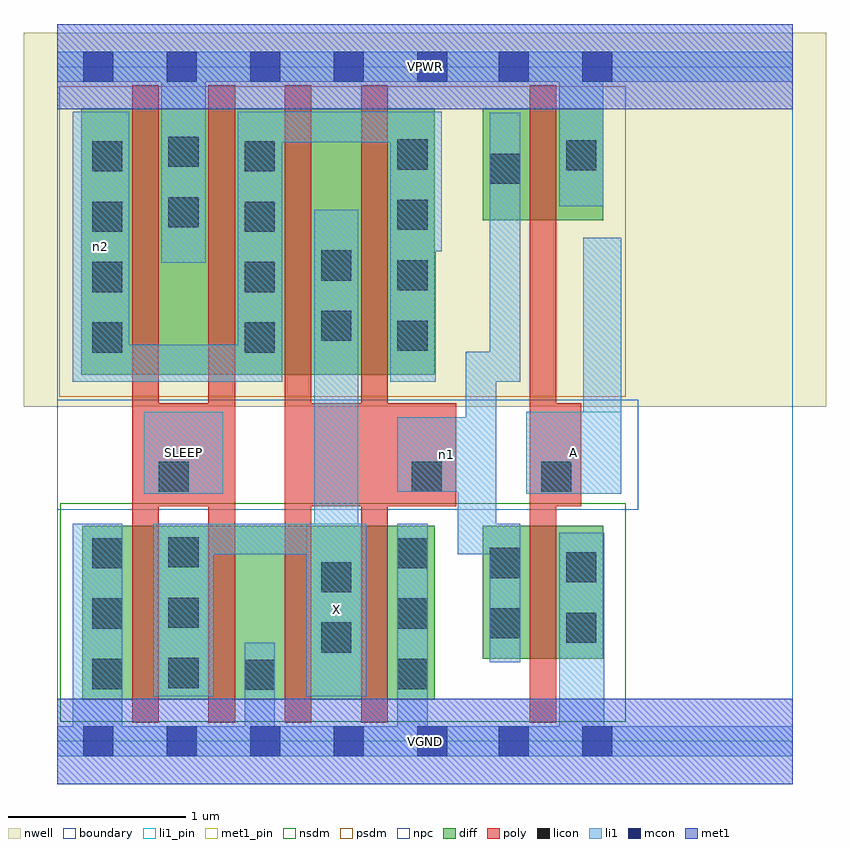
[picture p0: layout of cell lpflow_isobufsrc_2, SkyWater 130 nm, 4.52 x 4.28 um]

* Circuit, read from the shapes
.subckt lpflow_isobufsrc_2 A SLEEP VGND VPWR X n1 n2
XM1 X SLEEP VGND VSUBS sky130_fd_pr__nfet_01v8 w=0.98 l=0.15 m=2
XM2 X n1 VGND VSUBS sky130_fd_pr__nfet_01v8 w=0.98 l=0.15 m=2
XM3 VGND A n1 VSUBS sky130_fd_pr__nfet_01v8 w=0.75 l=0.15
XM4 VPWR SLEEP n2 n3 sky130_fd_pr__pfet_01v8 w=1.5 l=0.15 m=2
XM5 X n1 n2 n3 sky130_fd_pr__pfet_01v8 w=1.5 l=0.15 m=2
XM6 VPWR A n1 n3 sky130_fd_pr__pfet_01v8 w=0.63 l=0.15
.ends

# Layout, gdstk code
import gdstk
lib = gdstk.Library(unit=1e-6, precision=1e-09)
def R(c, l, rs):  # rectangles x0, y0, x1, y1
    for r in rs: c.add(gdstk.rectangle(r[:2], r[2:], *l))
def A(c, l, x, y, w, h, nx, ny, dx, dy):  # array of equal rectangles
    R(c, l, [(x+i*dx, y+j*dy, x+i*dx+w, y+j*dy+h) for i in range(nx) for j in range(ny)])
nwell = (64, 20)
diff = (65, 20)
poly = (66, 20)
licon = (66, 44)
li1_pin = (67, 16)
li1 = (67, 20)
mcon = (67, 44)
met1_pin = (68, 16)
met1 = (68, 20)
nsdm = (93, 44)
psdm = (94, 20)
npc = (95, 20)
boundary = (235, 4)

lpflow_isobufsrc_2 = lib.new_cell('lpflow_isobufsrc_2')
R(lpflow_isobufsrc_2, nwell, [(-0.19,1.885,4.33,3.99), (0,1.885,4.14,3.99)])
R(lpflow_isobufsrc_2, diff, [(0.14,0.235,2.125,1.215), (2.395,0.465,3.075,1.215), (0.135,2.065,2.125,3.565), (2.395,2.935,3.075,3.565)])
A(lpflow_isobufsrc_2, poly, 0.42, 0.105, 0.15, 3.59, 4, 1, 0.43, 0)
R(lpflow_isobufsrc_2, poly, [(2.66,0.105,2.81,3.695), (0.42,1.325,1,1.905), (1.28,1.325,2.245,1.905), (2.66,1.325,2.95,1.905)])
A(lpflow_isobufsrc_2, licon, 0.195, 0.295, 0.17, 0.17, 1, 3, 0, 0.34)
A(lpflow_isobufsrc_2, licon, 1.915, 0.295, 0.17, 0.17, 1, 3, 0, 0.34)
A(lpflow_isobufsrc_2, licon, 0.625, 0.3, 0.17, 0.17, 1, 3, 0, 0.34)
A(lpflow_isobufsrc_2, licon, 0.195, 2.19, 0.17, 0.17, 1, 4, 0, 0.34)
A(lpflow_isobufsrc_2, licon, 1.055, 2.19, 0.17, 0.17, 1, 4, 0, 0.34)
A(lpflow_isobufsrc_2, licon, 1.915, 2.2, 0.17, 0.17, 1, 4, 0, 0.34)
R(lpflow_isobufsrc_2, licon, [(1.055,0.29,1.225,0.46), (1.485,0.5,1.655,0.67), (2.865,0.555,3.035,0.725), (2.435,0.58,2.605,0.75), (1.485,0.84,1.655,1.01), (2.865,0.895,3.035,1.065), (2.435,0.92,2.605,1.09), (0.57,1.405,0.74,1.575), (1.995,1.405,2.165,1.575), (2.725,1.405,2.895,1.575), (1.485,2.255,1.655,2.425), (1.485,2.595,1.655,2.765), (0.625,2.895,0.795,3.065), (2.435,3.14,2.605,3.31), (2.865,3.215,3.035,3.385), (0.625,3.235,0.795,3.405)])
R(lpflow_isobufsrc_2, li1_pin, [(1.4,0.255,1.74,1.225), (0.485,1.395,0.935,1.855), (2.64,1.395,3.175,1.855)])
R(lpflow_isobufsrc_2, li1, [(0,-0.085,4.14,0.085), (0.085,-0.085,0.365,1.225), (1.055,-0.085,1.225,0.555), (1.915,-0.085,2.085,1.225), (2.825,-0.085,3.08,1.175), (0.54,0.255,0.88,1.225), (1.4,0.255,1.74,1.225), (1.445,0.255,1.695,2.995), (2.435,0.445,2.605,1.225), (0.54,1.055,1.74,1.225), (2.255,1.055,2.47,1.825), (2.3,1.055,2.47,2.195), (0.485,1.395,0.935,1.855), (2.64,1.395,3.175,1.855), (2.96,1.395,3.175,2.835), (1.915,1.405,2.47,1.825), (0.085,2.025,0.405,3.545), (0.085,2.025,1.265,2.235), (1.015,2.025,1.265,3.545), (1.875,2.025,2.13,3.545), (2.435,2.025,2.605,3.54), (0.585,2.695,0.835,3.885), (1.875,2.76,2.165,3.545), (2.825,3.015,3.075,3.885), (1.015,3.375,2.165,3.545), (0,3.715,4.14,3.885)])
A(lpflow_isobufsrc_2, mcon, 0.145, -0.085, 0.17, 0.17, 5, 2, 0.47, 3.8)
R(lpflow_isobufsrc_2, mcon, [(2.485,-0.085,2.655,0.085), (2.955,-0.085,3.125,0.085), (2.485,3.715,2.655,3.885), (2.955,3.715,3.125,3.885)])
R(lpflow_isobufsrc_2, met1_pin, [(0,-0.24,4.14,0.24), (0,3.56,4.14,4.04)])
R(lpflow_isobufsrc_2, met1, [(0,-0.24,4.14,0.24), (0,3.56,4.14,4.04)])
R(lpflow_isobufsrc_2, nsdm, [(0.015,0.11,3.2,1.34)])
R(lpflow_isobufsrc_2, psdm, [(0.01,1.94,3.2,3.69)])
R(lpflow_isobufsrc_2, npc, [(0,1.305,3.27,1.925)])
R(lpflow_isobufsrc_2, boundary, [(0,0,4.14,3.8)])
lpflow_isobufsrc_2.add(gdstk.Label('A', (2.907,1.625), layer=67, texttype=5))
lpflow_isobufsrc_2.add(gdstk.Label('SLEEP', (0.71,1.625), layer=67, texttype=5))
lpflow_isobufsrc_2.add(gdstk.Label('X', (1.57,0.74), layer=67, texttype=5))
lpflow_isobufsrc_2.add(gdstk.Label('n1', (2.192,1.615), layer=67, texttype=5))
lpflow_isobufsrc_2.add(gdstk.Label('n2', (0.245,2.785), layer=67, texttype=5))
lpflow_isobufsrc_2.add(gdstk.Label('VPWR', (2.07,3.8), layer=68, texttype=5))
lpflow_isobufsrc_2.add(gdstk.Label('VGND', (2.07,0), layer=68, texttype=5))
lpflow_isobufsrc_2.add(gdstk.Label('A', (2.907,1.625), layer=67, texttype=16))
lpflow_isobufsrc_2.add(gdstk.Label('SLEEP', (0.71,1.625), layer=67, texttype=16))
lpflow_isobufsrc_2.add(gdstk.Label('X', (1.57,0.74), layer=67, texttype=16))
lpflow_isobufsrc_2.add(gdstk.Label('VPWR', (2.07,3.8), layer=68, texttype=16))
lpflow_isobufsrc_2.add(gdstk.Label('VGND', (2.07,0), layer=68, texttype=16))

lib.write_gds('lpflow_isobufsrc_2.gds')
